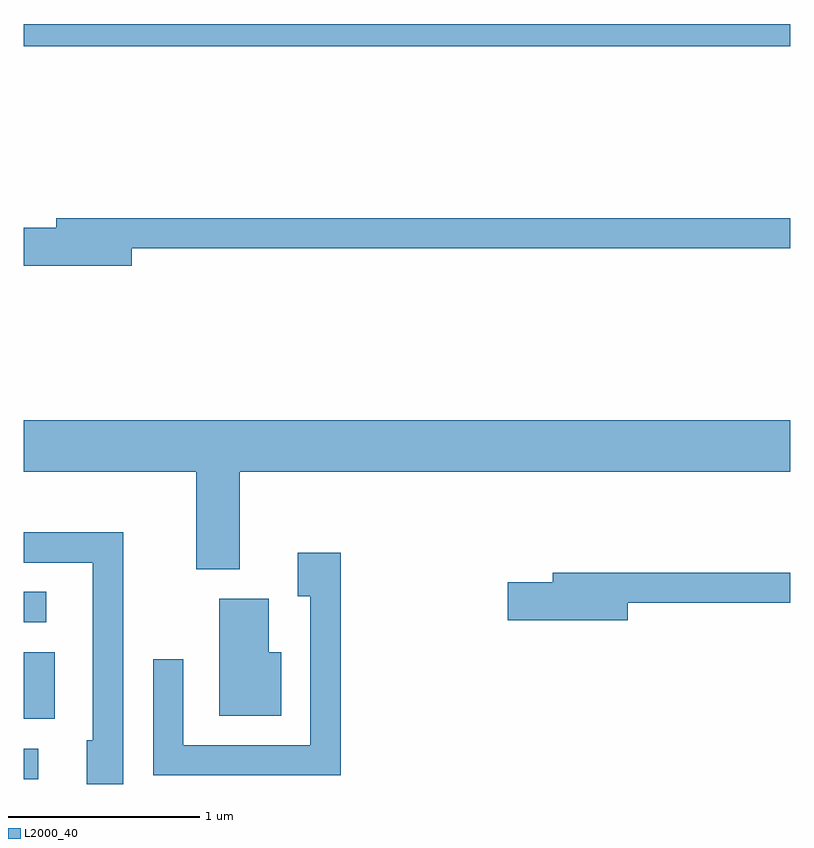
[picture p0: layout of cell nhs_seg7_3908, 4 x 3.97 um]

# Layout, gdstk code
import gdstk
lib = gdstk.Library(unit=1e-6, precision=1e-09)
def R(c, l, rs):  # rectangles x0, y0, x1, y1
    for r in rs: c.add(gdstk.rectangle(r[:2], r[2:], *l))
def P(c, l, *ps):  # polygons
    for p in ps: c.add(gdstk.Polygon(p, *l))
L2000_40 = (2000, 40)

nhs_seg7_3908 = lib.new_cell('nhs_seg7_3908')
R(nhs_seg7_3908, L2000_40, [(305.611,1668.311,305.688,1668.469), (305.611,1668.626,305.774,1668.974), (305.611,1669.131,305.728,1669.289), (305.611,1672.136,309.611,1672.252)])
P(nhs_seg7_3908, L2000_40, [(306.174,1671.081),(309.611,1671.081),(309.611,1671.239),(305.781,1671.239),(305.781,1671.189),(305.611,1671.189),(305.611,1670.991),(306.174,1670.991)],
  [(306.739,1669.916),(309.611,1669.916),(309.611,1670.184),(305.611,1670.184),(305.611,1669.916),(306.511,1669.916),(306.511,1669.406),(306.739,1669.406)],
  [(306.129,1669.599),(305.611,1669.599),(305.611,1669.441),(305.971,1669.441),(305.971,1668.514),(305.941,1668.514),(305.941,1668.286),(306.129,1668.286)],
  [(307.264,1669.494),(307.041,1669.494),(307.041,1669.266),(307.106,1669.266),(307.106,1668.489),(306.444,1668.489),(306.444,1668.938),(306.286,1668.938),(306.286,1668.331),(307.264,1668.331)],
  [(308.764,1669.231),(309.611,1669.231),(309.611,1669.389),(308.371,1669.389),(308.371,1669.339),(308.136,1669.339),(308.136,1669.141),(308.764,1669.141)],
  [(306.954,1668.974),(306.889,1668.974),(306.889,1669.254),(306.631,1669.254),(306.631,1668.641),(306.954,1668.641)])

lib.write_gds('nhs_seg7_3908.gds')
